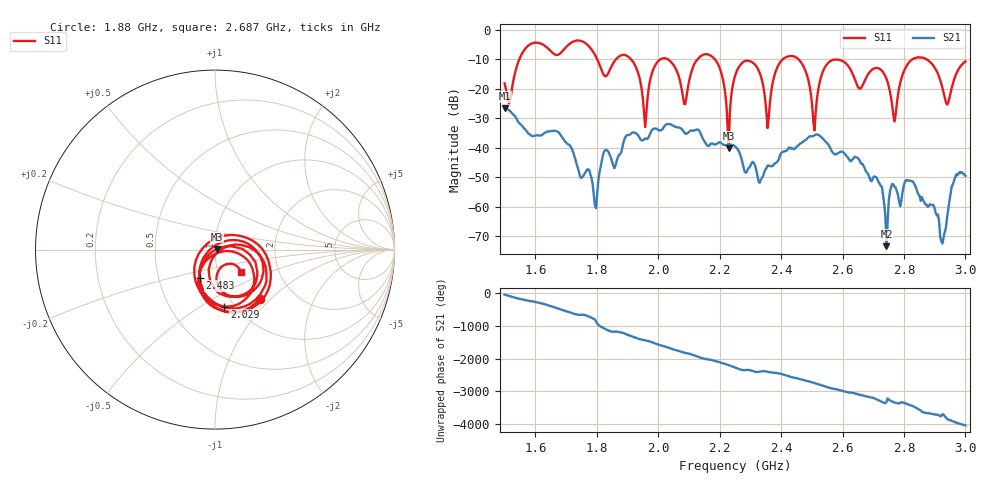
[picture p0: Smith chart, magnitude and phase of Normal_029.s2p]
# HZ S RI R 50
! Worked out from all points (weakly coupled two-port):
!   404 points, 1.5 GHz to 3 GHz, reference 50 ohm
!   highest |S21| = -26.61 dB at 1.5 GHz (marker M1); lowest = -73.4 dB at 2.743 GHz (marker M2)
!   lowest |S11| = -40.2 dB at 2.23 GHz (marker M3), VSWR 1.02, Z = 50.9 + j0.296 ohm
!   |S11| at or under -10 dB: 2.185 GHz to 2.406 GHz (221.3 MHz wide, 9.64 % of centre); 2.457 GHz to 2.828 GHz (371.2 MHz wide, 14 % of centre); 2.873 GHz to end of sweep (the widest 3 of 7)
!   S12 and S22 are empty: the file has one direction only
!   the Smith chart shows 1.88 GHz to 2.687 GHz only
!   S11 on the Smith chart (normalised r, x): 1.88 GHz: 1.35, -0.86; 2.029 GHz: 0.90, -0.63; 2.483 GHz: 0.80, -0.26; 2.687 GHz: 1.28, -0.33
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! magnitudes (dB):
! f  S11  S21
! 1.5 GHz  -18.2  -26.6
! 1.753 GHz  -3.9  -49.9
! 1.88 GHz  -8.6  -41.6
! 1.958 GHz  -33.0  -36.8
! 2.002 GHz  -10.4  -34.1
! 2.029 GHz  -9.9  -32.0
! 2.084 GHz  -25.2  -34.7
! 2.177 GHz  -9.2  -38.6
! 2.23 GHz  -40.2  -38.9
! 2.252 GHz  -15.1  -39.7
! 2.315 GHz  -11.8  -45.9
! 2.356 GHz  -33.4  -46.1
! 2.404 GHz  -10.1  -41.4
! 2.483 GHz  -14.9  -37.1
! 2.501 GHz  -25.7  -36.1
! 2.561 GHz  -10.6  -40.3
! 2.687 GHz  -14.5  -50.1
! 2.743 GHz  -16.6  -73.4
! 2.751 GHz  -19.2  -58.0
! 2.825 GHz  -10.2  -51.3
! 2.926 GHz  -19.8  -72.5
! 3 GHz  -10.7  -49.5
